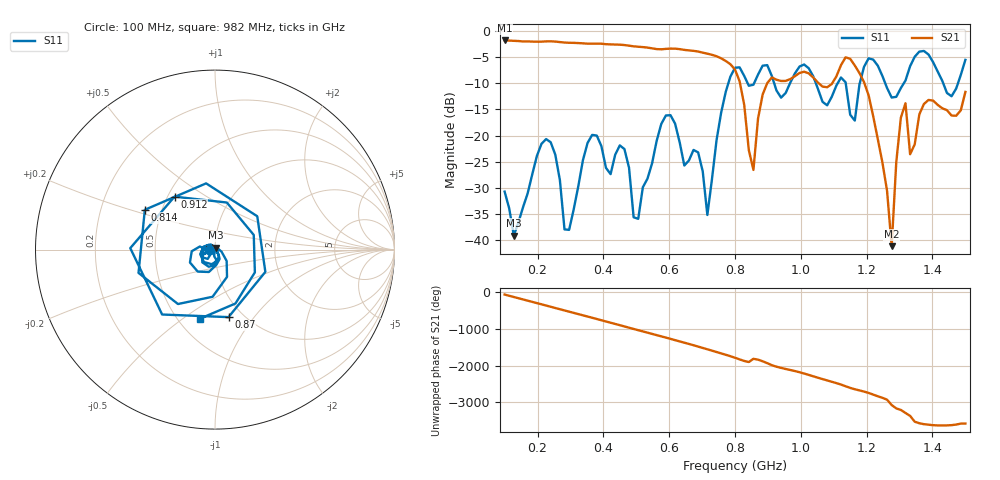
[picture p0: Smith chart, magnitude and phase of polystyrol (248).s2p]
! NanoVNA-App
! Date: 2025-09-25 15:31:49
! Start: 100MHz Stop: 1,5GHz Points: 101
! S-Parameter data: F S11 S21 S12 S22
# Hz S RI R 50
!  Frequency  S11_Real  S11_Imag  S21_Real  S21_Imag  S12_Real  S12_Imag  S22_Real  S22_Imag
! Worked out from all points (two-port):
!   101 points, 100 MHz to 1.5 GHz, reference 50 ohm
!   highest |S21| = -1.80 dB at 100 MHz (marker M1); lowest = -41.1 dB at 1.276 GHz (marker M2)
!   |S21| within 3 dB of the highest: start of sweep to 743 MHz
!   lowest |S11| = -39.1 dB at 128 MHz (marker M3), VSWR 1.02, Z = 50.3 + j1.06 ohm
!   |S11| at or under -10 dB: start of sweep to 779.7 MHz; 1.046 GHz to 1.112 GHz (66.1 MHz wide, 6.13 % of centre); 1.257 GHz to 1.313 GHz (56.24 MHz wide, 4.38 % of centre) (the widest 3 of 7)
!   S12 and S22 are empty: the file has one direction only
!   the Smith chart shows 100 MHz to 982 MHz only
!   S11 on the Smith chart (normalised r, x): 100 MHz: 0.94, -0.01; 814 MHz: 0.40, +0.22; 870 MHz: 0.86, -0.75; 912 MHz: 0.54, +0.37; 982 MHz: 0.64, -0.58
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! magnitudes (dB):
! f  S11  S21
! 100 MHz  -30.7  -1.8
! 128 MHz  -39.1  -1.9
! 212 MHz  -21.6  -2.0
! 282 MHz  -37.9  -2.2
! 338 MHz  -24.7  -2.4
! 464 MHz  -22.6  -2.7
! 506 MHz  -35.9  -3.0
! 576 MHz  -17.8  -3.5
! 716 MHz  -35.2  -4.3
! 800 MHz  -7.0  -7.4
! 814 MHz  -6.9  -9.6
! 856 MHz  -10.3  -26.6
! 870 MHz  -8.3  -16.7
! 912 MHz  -8.6  -8.9
! 982 MHz  -8.1  -8.6
! 1.038 GHz  -8.7  -8.9
! 1.164 GHz  -17.1  -6.6
! 1.192 GHz  -6.8  -9.8
! 1.276 GHz  -12.7  -41.1
! 1.318 GHz  -9.5  -13.8
! 1.332 GHz  -6.7  -23.6
! 1.5 GHz  -5.5  -11.6
